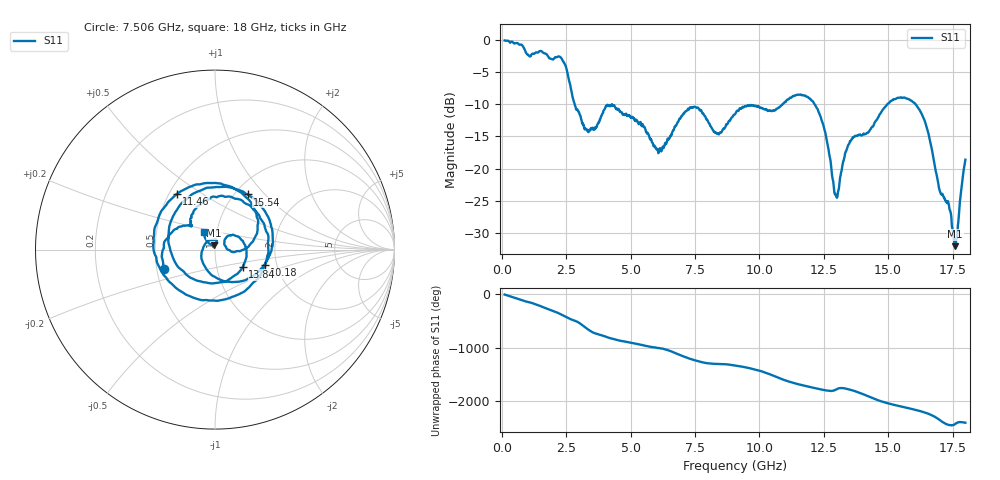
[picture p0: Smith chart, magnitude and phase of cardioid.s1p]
!Keysight Technologies,N5222B,MY60213399,A.14.00.23
!Date: Monday, June 05, 2023 20:21:40
!Correction: S11(C  1-Port  )
!S1P File: Measurement: :
# Hz S  dB  R 50
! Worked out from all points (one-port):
!   1601 points, 100 MHz to 18 GHz, reference 50 ohm
!   lowest |S11| = -32.1 dB at 17.61 GHz (marker M1), VSWR 1.05, Z = 49.5 + j2.41 ohm
!   |S11| at or under -10 dB: 4.278 GHz to 10.89 GHz (6.616 GHz wide, 87.2 % of centre); 12.14 GHz to 14.96 GHz (2.814 GHz wide, 20.8 % of centre); 16.06 GHz to end of sweep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
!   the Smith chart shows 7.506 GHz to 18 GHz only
!   S11 on the Smith chart (normalised r, x): 7.506 GHz: 0.55, -0.13; 10.18 GHz: 1.73, -0.33; 11.46 GHz: 0.55, +0.39; 13.84 GHz: 1.33, -0.27; 15.54 GHz: 1.14, +0.80; 18 GHz: 0.87, +0.17
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1e8  -0.02 -15.0
6.258125e8  -0.52 -94.5
1.21875e9  -2.11 177.9
1.711e9  -2.11 88.1
2.11375e9  -2.64 15.9
2.3375e9  -3.02 -35.9
2.785e9  -9.47 -134.2
3.18775e9  -13.60 110.6
3.556938e9  -13.90 -4.8
4.575e9  -11.09 -152.4
5.593062e9  -14.28 109.2
6.8125e9  -12.86 -38.8
7.506125e9  -10.42 -159.4
9.05e9  -11.51 107.5
1.017994e10  -10.73 -17.4
1.067219e10  -10.68 -109.9
1.12875e10  -8.74 146.5
1.145531e10  -8.49 124.6
1.219369e10  -10.30 41.3
1.297681e10  -24.22 18.8
1.3525e10  -15.78 15.2
1.383825e10  -14.79 -32.2
1.471088e10  -11.34 163.0
1.553875e10  -8.96 59.5
1.57625e10  -9.14 35.4
1.646731e10  -13.17 -54.8
1.760844e10  -32.11 101.3
1.8e10  -18.62 122.4
